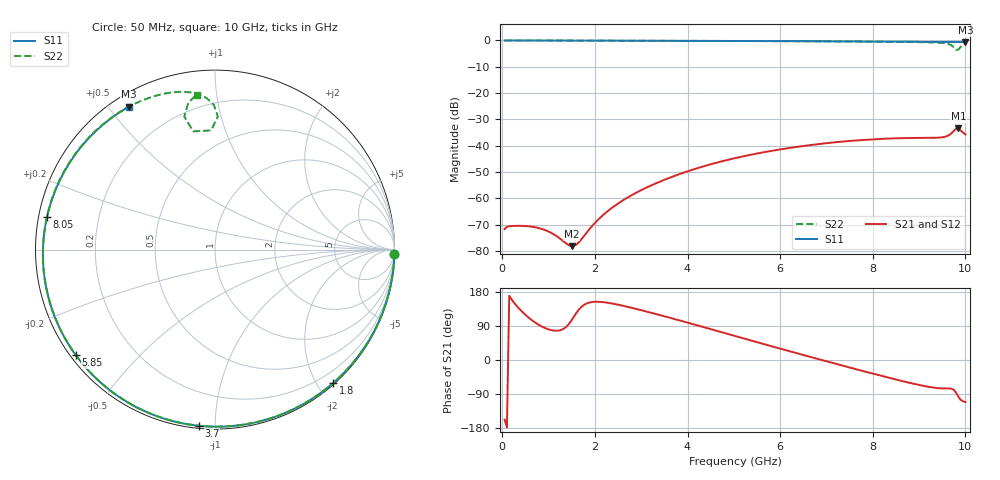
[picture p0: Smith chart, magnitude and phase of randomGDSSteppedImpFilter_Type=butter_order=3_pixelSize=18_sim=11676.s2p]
! freq	dB(S11)	phase(S11)	dB(S12)	phase(S12)
!  dB(S21)	phase(S21)	dB(S22)	phase(S22)
!S-par simulation data
#  GHz  S  DB  R 50
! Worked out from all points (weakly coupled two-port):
!   200 points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, 50 MHz to 10 GHz, reference 50 ohm
!   highest |S21| = -33.43 dB at 9.85 GHz (marker M1); lowest = -78.1 dB at 1.5 GHz (marker M2)
!   lowest |S11| = -0.6 dB at 10 GHz (marker M3), VSWR 27.52, Z = 2.4 + j28.2 ohm
!   |S11| at or under -10 dB: nowhere
!   |S22| runs from -3.5 to 0.0 dB; largest |S21 - S12| = 0
!   S11 on the Smith chart (normalised r, x): 50 MHz: 0, -83; 1.8 GHz: 0.02, -2.22; 3.7 GHz: 0.01, -0.91; 5.85 GHz: 0.01, -0.34; 8.05 GHz: 0.02, +0.10; 10 GHz: 0.05, +0.56
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0.05  -0.00 -1.4  -71.63 -157.4  -71.63 -157.4  -0.00 -1.4
0.25  -0.00 -6.9  -70.42 151.9  -70.42 151.9  -0.00 -6.8
0.8  -0.02 -22.0  -71.30 91.9  -71.30 91.9  -0.02 -21.6
1.5  -0.05 -40.7  -78.12 105.5  -78.12 105.5  -0.05 -40.0
1.75  -0.06 -47.3  -74.57 144.3  -74.57 144.3  -0.06 -46.6
1.8  -0.06 -48.6  -73.44 147.9  -73.44 147.9  -0.06 -47.8
2.45  -0.08 -65.1  -62.52 147.2  -62.52 147.2  -0.08 -64.5
3.4  -0.11 -88.3  -53.63 118.7  -53.63 118.7  -0.12 -88.2
3.7  -0.12 -95.3  -51.55 108.8  -51.55 108.8  -0.13 -95.5
5.05  -0.18 -125.6  -44.59 62.5  -44.59 62.5  -0.20 -128.1
5.85  -0.23 -142.8  -41.81 35.0  -41.81 35.0  -0.25 -147.7
6.7  -0.29 -161.1  -39.62 6.5  -39.62 6.5  -0.33 -169.3
7.4  -0.35 -176.3  -38.31 -16.6  -38.31 -16.6  -0.40 171.8
8.05  -0.42 169.1  -37.52 -37.3  -37.52 -37.3  -0.47 152.7
8.35  -0.45 162.2  -37.24 -46.8  -37.24 -46.8  -0.51 143.3
8.95  -0.51 147.9  -37.03 -64.6  -37.03 -64.6  -0.62 123.1
9.45  -0.57 135.4  -36.87 -74.6  -36.87 -74.6  -0.88 103.4
9.65  -0.59 130.3  -35.92 -75.0  -35.92 -75.0  -1.45 93.2
9.75  -0.60 127.7  -34.33 -78.8  -34.33 -78.8  -2.59 88.8
9.85  -0.62 125.0  -33.43 -97.1  -33.43 -97.1  -3.48 100.4
9.9  -0.62 123.7  -34.15 -105.2  -34.15 -105.2  -2.37 103.0
10  -0.63 121.0  -35.70 -111.0  -35.70 -111.0  -1.21 96.7
